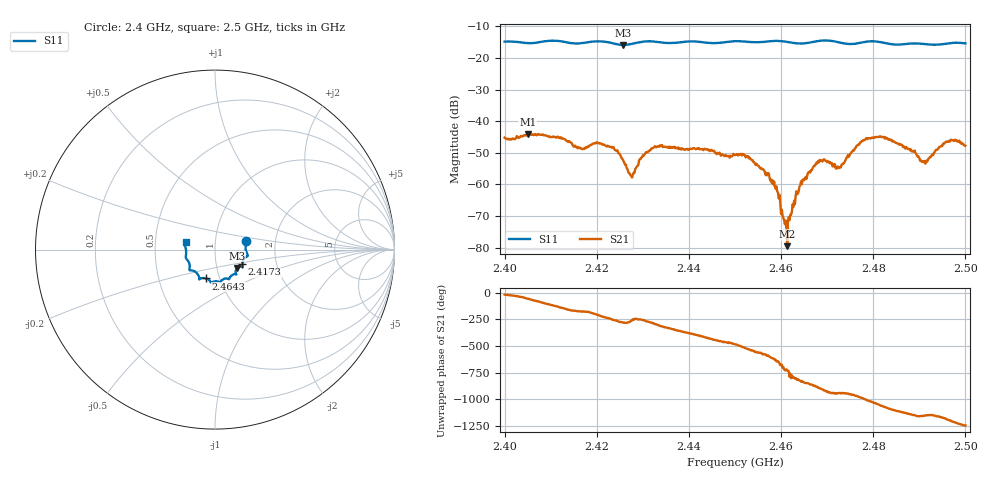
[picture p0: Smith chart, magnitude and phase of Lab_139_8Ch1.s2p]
# Hz S RI R 50
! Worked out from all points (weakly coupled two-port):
!   601 points, 2.4 GHz to 2.5 GHz, reference 50 ohm
!   highest |S21| = -44.03 dB at 2.405 GHz (marker M1); lowest = -79.5 dB at 2.4613 GHz (marker M2)
!   lowest |S11| = -15.9 dB at 2.4257 GHz (marker M3), VSWR 1.38, Z = 62.5 - j13.1 ohm
!   |S11| at or under -10 dB: start of sweep to end of sweep
!   S12 and S22 are empty: the file has one direction only
!   S11 on the Smith chart (normalised r, x): 2.4 GHz: 1.41, +0.14; 2.4173 GHz: 1.34, -0.23; 2.4643 GHz: 0.86, -0.28; 2.5 GHz: 0.72, +0.06
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2.4e9  0.1733 0.0493  0.00524 -0.00167  0 0  0 0
2.405e9  0.1704 0.0136  0.00337 -0.00531  0 0  0 0
2.416667e9  0.1531 -0.0747  -0.00362 -0.000374  0 0  0 0
2.417333e9  0.1521 -0.0822  -0.00364 -0.000222  0 0  0 0
2.421167e9  0.1539 -0.096  -0.00312 0.00308  0 0  0 0
2.425667e9  0.1227 -0.1023  0.000427 0.00243  0 0  0 0
2.427667e9  0.115 -0.1205  -0.000207 0.00127  0 0  0 0
2.433333e9  0.1129 -0.1369  0.00234 0.00327  0 0  0 0
2.45e9  0.0294 -0.1808  -0.00165 -0.00239  0 0  0 0
2.457333e9  -0.0153 -0.1815  -0.000813 0.00125  0 0  0 0
2.459167e9  -0.0221 -0.1841  0.000202 0.00075  0 0  0 0
2.460833e9  -0.0257 -0.1792  0.000232 -3.83e-05  0 0  0 0
2.461333e9  -0.0271 -0.1765  0.000104 -1.98e-05  0 0  0 0
2.464333e9  -0.05 -0.1606  -0.000489 -0.00101  0 0  0 0
2.466667e9  -0.0759 -0.1595  -0.00137 -0.000984  0 0  0 0
2.468833e9  -0.0873 -0.1656  -0.0024 0.000268  0 0  0 0
2.4725e9  -0.089 -0.1519  -0.00131 0.00126  0 0  0 0
2.478333e9  -0.1372 -0.1156  0.0012 0.00507  0 0  0 0
2.483333e9  -0.1409 -0.09  0.00504 -0.000732  0 0  0 0
2.490833e9  -0.1621 -0.0354  0.000483 -0.00228  0 0  0 0
2.496e9  -0.1668 0.019  -0.00167 -0.00448  0 0  0 0
2.5e9  -0.1637 0.0419  -0.00398 -0.000896  0 0  0 0
